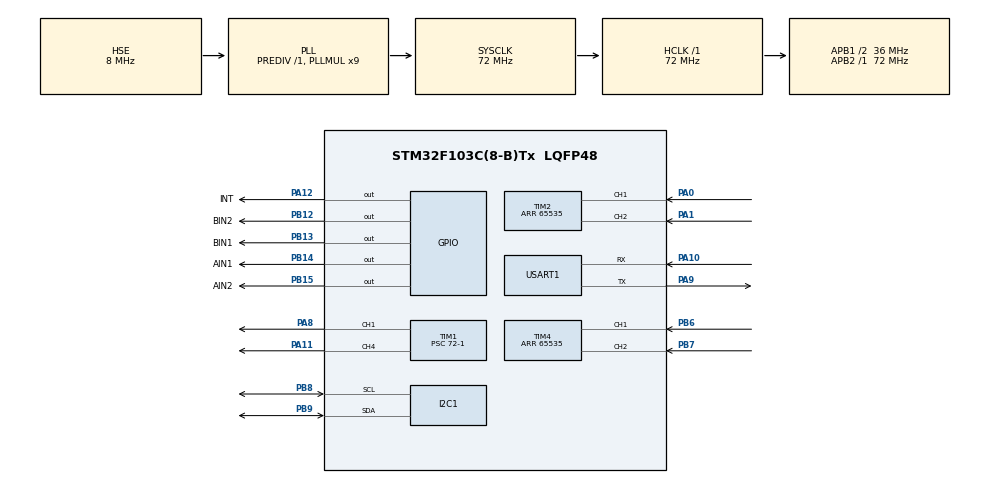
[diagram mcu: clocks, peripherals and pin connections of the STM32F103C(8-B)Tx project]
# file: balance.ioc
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I2C1.I2C_Mode=I2C_Fast
Mcu.Family=STM32F1
Mcu.Name=STM32F103C(8-B)Tx
Mcu.Package=LQFP48
NVIC.PriorityGroup=NVIC_PRIORITYGROUP_4
PA0-WKUP.Signal=S_TIM2_CH1_ETR
PA1.Signal=S_TIM2_CH2
PA10.Mode=Asynchronous
PA10.Signal=USART1_RX
PA11.Signal=S_TIM1_CH4
PA12.GPIO_Label=INT
PA12.PinState=GPIO_PIN_RESET
PA12.Signal=GPIO_Output
PA13.Mode=Serial_Wire
PA13.Signal=SYS_JTMS-SWDIO
PA14.Mode=Serial_Wire
PA14.Signal=SYS_JTCK-SWCLK
PA8.Signal=S_TIM1_CH1
PA9.Mode=Asynchronous
PA9.Signal=USART1_TX
PB12.GPIO_Label=BIN2
PB12.Signal=GPIO_Output
PB13.GPIO_Label=BIN1
PB13.Signal=GPIO_Output
PB14.GPIO_Label=AIN1
PB14.Signal=GPIO_Output
PB15.GPIO_Label=AIN2
PB15.Signal=GPIO_Output
PB6.Signal=S_TIM4_CH1
PB7.Signal=S_TIM4_CH2
PB8.Mode=I2C
PB8.Signal=I2C1_SCL
PB9.Mode=I2C
PB9.Signal=I2C1_SDA
PD0-OSC_IN.Mode=HSE-External-Oscillator
PD0-OSC_IN.Signal=RCC_OSC_IN
PD1-OSC_OUT.Mode=HSE-External-Oscillator
PD1-OSC_OUT.Signal=RCC_OSC_OUT
ProjectManager.HeapSize=0x200
ProjectManager.StackSize=0x400
ProjectManager.TargetToolchain=MDK-ARM V5.27
RCC.AHBFreq_Value=72000000
RCC.APB1CLKDivider=RCC_HCLK_DIV2
RCC.APB1Freq_Value=36000000
RCC.APB1TimFreq_Value=72000000
RCC.APB2Freq_Value=72000000
RCC.APB2TimFreq_Value=72000000
RCC.HCLKFreq_Value=72000000
RCC.PLLMUL=RCC_PLL_MUL9
RCC.PLLSourceVirtual=RCC_PLLSOURCE_HSE
RCC.SYSCLKFreq_VALUE=72000000
RCC.SYSCLKSource=RCC_SYSCLKSOURCE_PLLCLK
RCC.USBFreq_Value=72000000
SH.S_TIM1_CH1.0=TIM1_CH1,PWM Generation1 CH1
SH.S_TIM1_CH4.0=TIM1_CH4,PWM Generation4 CH4
SH.S_TIM2_CH1_ETR.0=TIM2_CH1,Encoder_Interface
SH.S_TIM2_CH2.0=TIM2_CH2,Encoder_Interface
SH.S_TIM4_CH1.0=TIM4_CH1,Encoder_Interface
SH.S_TIM4_CH2.0=TIM4_CH2,Encoder_Interface
TIM1.Channel-PWM\ Generation1\ CH1=TIM_CHANNEL_1
TIM1.Channel-PWM\ Generation4\ CH4=TIM_CHANNEL_4
TIM1.Period=1000-1
TIM1.Prescaler=72-1
TIM2.EncoderMode=TIM_ENCODERMODE_TI12
TIM2.Period=65535
TIM4.EncoderMode=TIM_ENCODERMODE_TI12
TIM4.Period=65535
USART1.VirtualMode=VM_ASYNC
VP_TIM1_VS_ClockSourceINT.Mode=Internal
board=custom

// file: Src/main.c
/* USER CODE BEGIN Header */
/**
  ******************************************************************************
  * @file           : main.c
  * @brief          : Main program body
  ******************************************************************************
  * @attention
  *
  * <h2><center>&copy; Copyright (c) 2020 STMicroelectronics.
  * All rights reserved.</center></h2>
  *
  * This software component is licensed by ST under BSD 3-Clause license,
  * the "License"; You may not use this file except in compliance with the
  * License. You may obtain a copy of the License at:
  *                        opensource.org/licenses/BSD-3-Clause
  *
  ******************************************************************************
  */
/* USER CODE END Header */

#include "main.h"
#include "i2c.h"
#include "tim.h"
#include "usart.h"
#include "gpio.h"

/* USER CODE BEGIN Includes */
#include "IIC.h"
#include "Mpu6050.h"
#include "control.h"
#include "filter.h"
/* USER CODE END Includes */

/* USER CODE BEGIN PV */
int PWM = 0;
int speed_Left=0,speed_Right=0;
float Roll_filter=0;
int Time_flag = 0;
/* USER CODE END PV */

void SystemClock_Config(void);

int main(void)
{

  /* MCU Configuration--------------------------------------------------------*/

  /* Reset of all peripherals, Initializes the Flash interface and the Systick. */
  HAL_Init();

  /* Configure the system clock */
  SystemClock_Config();

  /* Initialize all configured peripherals */
  MX_GPIO_Init();
  MX_I2C1_Init();
  MX_TIM1_Init();
  MX_TIM2_Init();
  MX_TIM4_Init();
  MX_USART1_UART_Init();
  /* USER CODE BEGIN 2 */
	MPU6050_initialize();
	DMP_Init();
  PWM_Init();
  Encoder_Init();
	Time_flag = 1;
  /* USER CODE END 2 */
	HAL_Delay(2000);
  /* Infinite loop */
  while (1)
  {

    /* USER CODE BEGIN 3 */
		printf("%f,%f,%f\r\n",Pitch,Roll,Yaw);
		HAL_Delay(50);
  }
  /* USER CODE END 3 */
}

void SystemClock_Config(void)
{
  RCC_OscInitTypeDef RCC_OscInitStruct = {0};
  RCC_ClkInitTypeDef RCC_ClkInitStruct = {0};

  /** Initializes the CPU, AHB and APB busses clocks
  */
  RCC_OscInitStruct.OscillatorType = RCC_OSCILLATORTYPE_HSE;
  RCC_OscInitStruct.HSEState = RCC_HSE_ON;
  RCC_OscInitStruct.HSEPredivValue = RCC_HSE_PREDIV_DIV1;
  RCC_OscInitStruct.HSIState = RCC_HSI_ON;
  RCC_OscInitStruct.PLL.PLLState = RCC_PLL_ON;
  RCC_OscInitStruct.PLL.PLLSource = RCC_PLLSOURCE_HSE;
  RCC_OscInitStruct.PLL.PLLMUL = RCC_PLL_MUL9;
  if (HAL_RCC_OscConfig(&RCC_OscInitStruct) != HAL_OK)
  {
    Error_Handler();
  }
  /** Initializes the CPU, AHB and APB busses clocks
  */
  RCC_ClkInitStruct.ClockType = RCC_CLOCKTYPE_HCLK|RCC_CLOCKTYPE_SYSCLK
                              |RCC_CLOCKTYPE_PCLK1|RCC_CLOCKTYPE_PCLK2;
  RCC_ClkInitStruct.SYSCLKSource = RCC_SYSCLKSOURCE_PLLCLK;
  RCC_ClkInitStruct.AHBCLKDivider = RCC_SYSCLK_DIV1;
  RCC_ClkInitStruct.APB1CLKDivider = RCC_HCLK_DIV2;
  RCC_ClkInitStruct.APB2CLKDivider = RCC_HCLK_DIV1;

  if (HAL_RCC_ClockConfig(&RCC_ClkInitStruct, FLASH_LATENCY_2) != HAL_OK)
  {
    Error_Handler();
  }
}

/* USER CODE BEGIN 4 */
void HAL_SYSTICK_Callback(void)
{
	if(Time_flag)
	{
	count_now++;
	if(count_now == 5)
	{
	Read_DMP();
  Roll_filter = lowpass_1order(Roll,Roll_filter,1000,5);
	speed_Left = ReadEncoder_Left();
	speed_Right = ReadEncoder_Right();
  PWM = Position_PID(Roll,gyro[0],0);
	PWM -= Incremental_PI(speed_Left,speed_Right,0);
	PWM = limit_pwm(PWM);
	Motor_Left(PWM);
	Motor_Right(PWM);
	count_now = 0;
	}
	}
}
/* USER CODE END 4 */

void Error_Handler(void)
{
}

/************************ (C) COPYRIGHT STMicroelectronics *****END OF FILE****/
